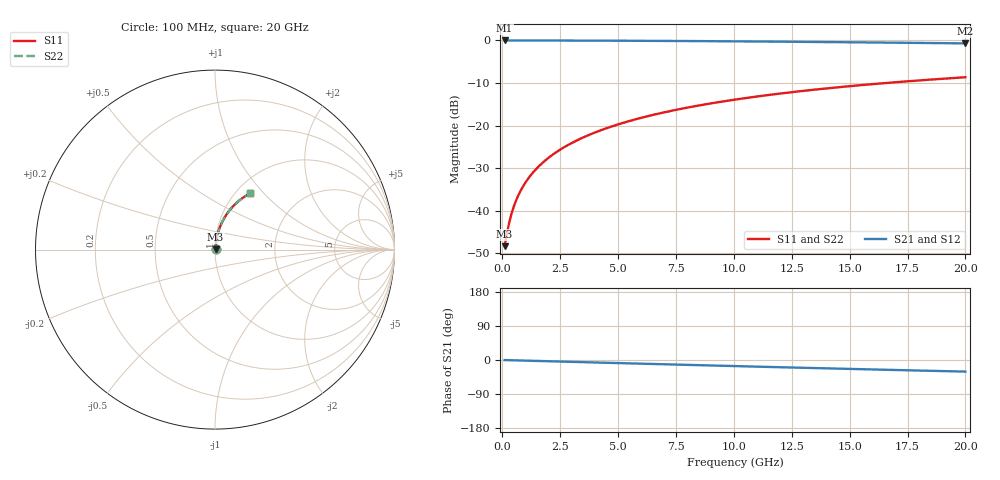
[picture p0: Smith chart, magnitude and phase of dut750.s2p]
! Touchstone file exported from HFSS 2026.1.0
!  File:  C:/ffzhzh/LocalFiles/Ansys_Project_Files/temp_train_BSMRDL_750_1783168832_18472.aedt
!  Generated:  08:41:46 PM Jul  4, 2026
!  Design:  BSMRDL
!  Project:  temp_train_BSMRDL_750_1783168832_18472
! Variables:
!  h_bsmrdl = 2.65um
!  h_ox = 20um
!  h_rdl = 5um
!  h_sub = 80um
!  h_tmrdl = 5um
!  h_tsv = 80um
!  h_via = 3um
!  l_bsmrdl = 349.94um
!  l_sub = 749.94um
!  l_tmrdl = 200um
!  m_sub = 200um
!  pitch = 55.76um
!  r_tsv = 6um
!  s_tmrdl = 10um
!  w_bsmrdl = 15.84um
!  w_sub = 500um
!  w_tmrdl = 12um
!  x_tsv_center1 = 206um
!  x_tsv_center2 = 571.78um
!  x_tsv_center3 = 783.78um
!  x_tsv_center4 = 1149.56um
!  x_tsv_center5 = 1361.56um
!  x_tsv_center6 = 1727.34um
# GHz S MA R 50.000000
! Terminal data exported
! Port[1] = BSM_RDL1_1_T1
! Port[2] = BSM_RDL1_1_T2
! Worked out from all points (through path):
!   200 points, 100 MHz to 20 GHz, reference 50 ohm
!   highest |S21| = -0.03 dB at 100 MHz (marker M1); lowest = -0.7 dB at 20 GHz (marker M2)
!   group delay of S21, straight-line fit = 4.27 ps
!   lowest |S11| = -48.3 dB at 100 MHz (marker M3), VSWR 1.01, Z = 50.3 + j0.219 ohm
!   |S11| at or under -10 dB: start of sweep to 16.6 GHz
!   |S22| runs from -48.3 to -8.7 dB; largest |S21 - S12| = 2.2e-15
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0.1  0.003845 34.5  0.9968 -0.2  0.9968 -0.2  0.003845 34.5
! Gamma 0 0 0 0
! Port Impedance 50 0 50 0
0.2  0.005413 53.3  0.9968 -0.3  0.9968 -0.3  0.005413 53.3
0.3  0.007289 62.9  0.9967 -0.5  0.9967 -0.5  0.007289 62.9
0.4  0.009268 68.2  0.9966 -0.7  0.9966 -0.7  0.009268 68.2
0.5  0.01128 71.6  0.9965 -0.8  0.9965 -0.8  0.01128 71.6
0.6  0.01331 73.9  0.9964 -1.0  0.9964 -1.0  0.01331 73.9
0.8  0.01738 76.7  0.9963 -1.3  0.9963 -1.3  0.01738 76.7
1.1  0.0235 79.1  0.996 -1.8  0.996 -1.8  0.0235 79.1
1.5  0.03169 80.6  0.9957 -2.5  0.9957 -2.5  0.03169 80.6
1.8  0.03784 81.2  0.9954 -3.0  0.9954 -3.0  0.03784 81.1
2.1  0.044 81.4  0.9951 -3.4  0.9951 -3.4  0.044 81.4
2.7  0.05632 81.5  0.9944 -4.4  0.9944 -4.4  0.05632 81.5
3.5  0.07271 81.0  0.9932 -5.7  0.9932 -5.7  0.07271 81.0
4.2  0.08698 80.3  0.9919 -6.8  0.9919 -6.8  0.08698 80.3
5  0.1032 79.3  0.9901 -8.1  0.9901 -8.1  0.1032 79.3
5.9  0.1213 78.2  0.9879 -9.6  0.9879 -9.6  0.1213 78.2
6.8  0.1391 76.9  0.9853 -11.0  0.9853 -11.0  0.1391 76.9
8.3  0.1684 74.8  0.9802 -13.4  0.9802 -13.4  0.1684 74.7
10.1  0.2026 72.1  0.9732 -16.2  0.9732 -16.2  0.2026 72.1
13.4  0.2624 67.3  0.958 -21.2  0.958 -21.2  0.2624 67.3
16.7  0.3179 62.6  0.9403 -26.0  0.9403 -26.0  0.3179 62.6
20  0.3689 58.1  0.921 -30.6  0.921 -30.6  0.3689 58.0
